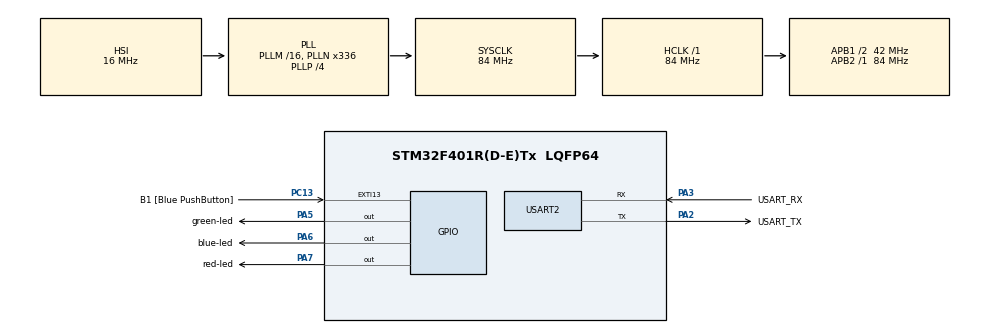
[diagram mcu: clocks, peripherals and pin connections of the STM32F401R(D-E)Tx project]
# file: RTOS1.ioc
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Mcu.Family=STM32F4
Mcu.Name=STM32F401R(D-E)Tx
Mcu.Package=LQFP64
NVIC.PriorityGroup=NVIC_PRIORITYGROUP_4
NVIC.TIM4_IRQn=true\:15\:0\:false\:false\:true\:false\:true\:true
NVIC.TimeBase=TIM4_IRQn
NVIC.TimeBaseIP=TIM4
PA13.GPIO_Label=TMS
PA13.Mode=Trace_Asynchronous_SW
PA13.Signal=SYS_JTMS-SWDIO
PA14.GPIO_Label=TCK
PA14.Mode=Trace_Asynchronous_SW
PA14.Signal=SYS_JTCK-SWCLK
PA2.GPIO_Label=USART_TX
PA2.GPIO_Mode=GPIO_MODE_AF_PP
PA2.GPIO_PuPd=GPIO_NOPULL
PA2.GPIO_Speed=GPIO_SPEED_FREQ_LOW
PA2.Mode=Asynchronous
PA2.Signal=USART2_TX
PA3.GPIO_Label=USART_RX
PA3.GPIO_Mode=GPIO_MODE_AF_PP
PA3.GPIO_PuPd=GPIO_NOPULL
PA3.GPIO_Speed=GPIO_SPEED_FREQ_LOW
PA3.Mode=Asynchronous
PA3.Signal=USART2_RX
PA5.GPIO_Label=green-led
PA5.Signal=GPIO_Output
PA6.GPIO_Label=blue-led
PA6.Signal=GPIO_Output
PA7.GPIO_Label=red-led
PA7.Signal=GPIO_Output
PB3.GPIO_Label=SWO
PB3.Mode=Trace_Asynchronous_SW
PB3.Signal=SYS_JTDO-SWO
PC13-ANTI_TAMP.GPIO_Label=B1 [Blue PushButton]
PC13-ANTI_TAMP.GPIO_ModeDefaultEXTI=GPIO_MODE_IT_FALLING
PC13-ANTI_TAMP.GPIO_PuPd=GPIO_NOPULL
PC13-ANTI_TAMP.Signal=GPXTI13
PC14-OSC32_IN.Mode=LSE-External-Oscillator
PC14-OSC32_IN.Signal=RCC_OSC32_IN
PC15-OSC32_OUT.Mode=LSE-External-Oscillator
PC15-OSC32_OUT.Signal=RCC_OSC32_OUT
PH0\ -\ OSC_IN.Mode=HSE-External-Clock-Source
PH0\ -\ OSC_IN.Signal=RCC_OSC_IN
PH1\ -\ OSC_OUT.Mode=HSE-External-Clock-Source
PH1\ -\ OSC_OUT.Signal=RCC_OSC_OUT
ProjectManager.HeapSize=0x200
ProjectManager.StackSize=0x400
ProjectManager.TargetToolchain=STM32CubeIDE
RCC.48MHZClocksFreq_Value=48000000
RCC.AHBFreq_Value=84000000
RCC.APB1CLKDivider=RCC_HCLK_DIV2
RCC.APB1Freq_Value=42000000
RCC.APB1TimFreq_Value=84000000
RCC.APB2Freq_Value=84000000
RCC.APB2TimFreq_Value=84000000
RCC.CortexFreq_Value=84000000
RCC.HCLKFreq_Value=84000000
RCC.HSE_VALUE=8000000
RCC.HSI_VALUE=16000000
RCC.PLLN=336
RCC.PLLP=RCC_PLLP_DIV4
RCC.PLLQ=7
RCC.SYSCLKFreq_VALUE=84000000
RCC.SYSCLKSource=RCC_SYSCLKSOURCE_PLLCLK
RCC.VCOOutputFreq_Value=336000000
USART2.VirtualMode=VM_ASYNC
VP_SYS_VS_tim4.Mode=TIM4
board=NUCLEO-F401RE

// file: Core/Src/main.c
/* USER CODE BEGIN Header */
/**
  ******************************************************************************
  * @file           : main.c
  * @brief          : Main program body
  ******************************************************************************
  * @attention
  *
  * Copyright (c) 2026 STMicroelectronics.
  * All rights reserved.
  *
  * This software is licensed under terms that can be found in the LICENSE file
  * in the root directory of this software component.
  * If no LICENSE file comes with this software, it is provided AS-IS.
  *
  ******************************************************************************
  */
/* USER CODE END Header */
#include "main.h"

/* USER CODE BEGIN Includes */
#include <stdio.h>
#include "FreeRTOS.h"
#include "task.h"

/* USER CODE END Includes */

UART_HandleTypeDef huart2;

void SystemClock_Config(void);
static void MX_GPIO_Init(void);
static void MX_USART2_UART_Init(void);
/* USER CODE BEGIN PFP */
static void green_led_handler(void * pvParameters);
static void blue_led_handler(void * pvParameters);
static void red_led_handler(void * pvParameters);
/* USER CODE END PFP */

int main(void)
{

  /* USER CODE BEGIN 1 */
	TaskHandle_t task1_handle;
	TaskHandle_t task2_handle;
	TaskHandle_t task3_handle;
	BaseType_t xReturned;

  /* USER CODE END 1 */

  /* MCU Configuration--------------------------------------------------------*/

  /* Reset of all peripherals, Initializes the Flash interface and the Systick. */
  HAL_Init();

  /* Configure the system clock */
  SystemClock_Config();

  /* Initialize all configured peripherals */
  MX_GPIO_Init();
  MX_USART2_UART_Init();
  /* USER CODE BEGIN 2 */

  xReturned = xTaskCreate(
		  	  	  	  green_led_handler,       /* Function that implements the task. */
                      "Green LED Task",          /* Text name for the task. */
                      100,      /* Stack size in words, not bytes. */
                      "Green",    /* Parameter passed into the task. */
                      2,/* Priority at which the task is created. */
                      &task1_handle );      /* Used to pass out the created task's handle. */

  configASSERT(xReturned == pdPASS);

  xReturned = xTaskCreate(
		  	  	  	  blue_led_handler,       /* Function that implements the task. */
                      "Blue LED Task",          /* Text name for the task. */
                      100,      /* Stack size in words, not bytes. */
                      "Blue",    /* Parameter passed into the task. */
                      2,/* Priority at which the task is created. */
                      &task2_handle );      /* Used to pass out the created task's handle. */

  configASSERT(xReturned == pdPASS);

  xReturned = xTaskCreate(
		  	  	  	  red_led_handler,       /* Function that implements the task. */
                      "Red LED Task",          /* Text name for the task. */
                      100,      /* Stack size in words, not bytes. */
                      "Red",    /* Parameter passed into the task. */
                      2,/* Priority at which the task is created. */
                      &task3_handle );      /* Used to pass out the created task's handle. */

  configASSERT(xReturned == pdPASS);

  vTaskStartScheduler();

  /* USER CODE END 2 */

  /* Infinite loop */
  while (1)
  {

  }
}

void SystemClock_Config(void)
{
  RCC_OscInitTypeDef RCC_OscInitStruct = {0};
  RCC_ClkInitTypeDef RCC_ClkInitStruct = {0};

  /** Configure the main internal regulator output voltage
  */
  __HAL_RCC_PWR_CLK_ENABLE();
  __HAL_PWR_VOLTAGESCALING_CONFIG(PWR_REGULATOR_VOLTAGE_SCALE2);

  /** Initializes the RCC Oscillators according to the specified parameters
  * in the RCC_OscInitTypeDef structure.
  */
  RCC_OscInitStruct.OscillatorType = RCC_OSCILLATORTYPE_HSI;
  RCC_OscInitStruct.HSIState = RCC_HSI_ON;
  RCC_OscInitStruct.HSICalibrationValue = RCC_HSICALIBRATION_DEFAULT;
  RCC_OscInitStruct.PLL.PLLState = RCC_PLL_ON;
  RCC_OscInitStruct.PLL.PLLSource = RCC_PLLSOURCE_HSI;
  RCC_OscInitStruct.PLL.PLLM = 16;
  RCC_OscInitStruct.PLL.PLLN = 336;
  RCC_OscInitStruct.PLL.PLLP = RCC_PLLP_DIV4;
  RCC_OscInitStruct.PLL.PLLQ = 7;
  if (HAL_RCC_OscConfig(&RCC_OscInitStruct) != HAL_OK)
  {
    Error_Handler();
  }

  /** Initializes the CPU, AHB and APB buses clocks
  */
  RCC_ClkInitStruct.ClockType = RCC_CLOCKTYPE_HCLK|RCC_CLOCKTYPE_SYSCLK
                              |RCC_CLOCKTYPE_PCLK1|RCC_CLOCKTYPE_PCLK2;
  RCC_ClkInitStruct.SYSCLKSource = RCC_SYSCLKSOURCE_PLLCLK;
  RCC_ClkInitStruct.AHBCLKDivider = RCC_SYSCLK_DIV1;
  RCC_ClkInitStruct.APB1CLKDivider = RCC_HCLK_DIV2;
  RCC_ClkInitStruct.APB2CLKDivider = RCC_HCLK_DIV1;

  if (HAL_RCC_ClockConfig(&RCC_ClkInitStruct, FLASH_LATENCY_2) != HAL_OK)
  {
    Error_Handler();
  }
}

static void MX_USART2_UART_Init(void)
{

  huart2.Instance = USART2;
  huart2.Init.BaudRate = 115200;
  huart2.Init.WordLength = UART_WORDLENGTH_8B;
  huart2.Init.StopBits = UART_STOPBITS_1;
  huart2.Init.Parity = UART_PARITY_NONE;
  huart2.Init.Mode = UART_MODE_TX_RX;
  huart2.Init.HwFlowCtl = UART_HWCONTROL_NONE;
  huart2.Init.OverSampling = UART_OVERSAMPLING_16;
  if (HAL_UART_Init(&huart2) != HAL_OK)
  {
    Error_Handler();
  }

}

static void MX_GPIO_Init(void)
{
  GPIO_InitTypeDef GPIO_InitStruct = {0};

  /* GPIO Ports Clock Enable */
  __HAL_RCC_GPIOC_CLK_ENABLE();
  __HAL_RCC_GPIOH_CLK_ENABLE();
  __HAL_RCC_GPIOA_CLK_ENABLE();
  __HAL_RCC_GPIOB_CLK_ENABLE();

  /*Configure GPIO pin Output Level */
  HAL_GPIO_WritePin(GPIOA, green_led_Pin|blue_led_Pin|red_led_Pin, GPIO_PIN_RESET);

  /*Configure GPIO pin : B1_Pin */
  GPIO_InitStruct.Pin = B1_Pin;
  GPIO_InitStruct.Mode = GPIO_MODE_IT_FALLING;
  GPIO_InitStruct.Pull = GPIO_NOPULL;
  HAL_GPIO_Init(B1_GPIO_Port, &GPIO_InitStruct);

  /*Configure GPIO pins : green_led_Pin blue_led_Pin red_led_Pin */
  GPIO_InitStruct.Pin = green_led_Pin|blue_led_Pin|red_led_Pin;
  GPIO_InitStruct.Mode = GPIO_MODE_OUTPUT_PP;
  GPIO_InitStruct.Pull = GPIO_NOPULL;
  GPIO_InitStruct.Speed = GPIO_SPEED_FREQ_LOW;
  HAL_GPIO_Init(GPIOA, &GPIO_InitStruct);

}

/* USER CODE BEGIN 4 */
static void green_led_handler(void* parameters)
{
	while(1)
	{
		printf("%s\r\n", (char*)parameters);
		HAL_GPIO_TogglePin(green_led_GPIO_Port, green_led_Pin);
		vTaskDelay(pdMS_TO_TICKS(1000));
		taskYIELD();
	}

}

static void blue_led_handler(void* parameters)
{
	while(1)
	{
		printf("%s\r\n", (char*)parameters);
		HAL_GPIO_TogglePin(blue_led_GPIO_Port, blue_led_Pin);
		vTaskDelay(pdMS_TO_TICKS(500));
		taskYIELD();
	}

}

static void red_led_handler(void* parameters)
{
	while(1)
	{
		printf("%s\r\n", (char*)parameters);
		HAL_GPIO_TogglePin(red_led_GPIO_Port, red_led_Pin);
		vTaskDelay(pdMS_TO_TICKS(250));
		taskYIELD();
	}

}

/* USER CODE END 4 */

void HAL_TIM_PeriodElapsedCallback(TIM_HandleTypeDef *htim)
{
  if (htim->Instance == TIM4)
  {
    HAL_IncTick();
  }
}

void Error_Handler(void)
{
  __disable_irq();
  while (1)
  {
  }
}
